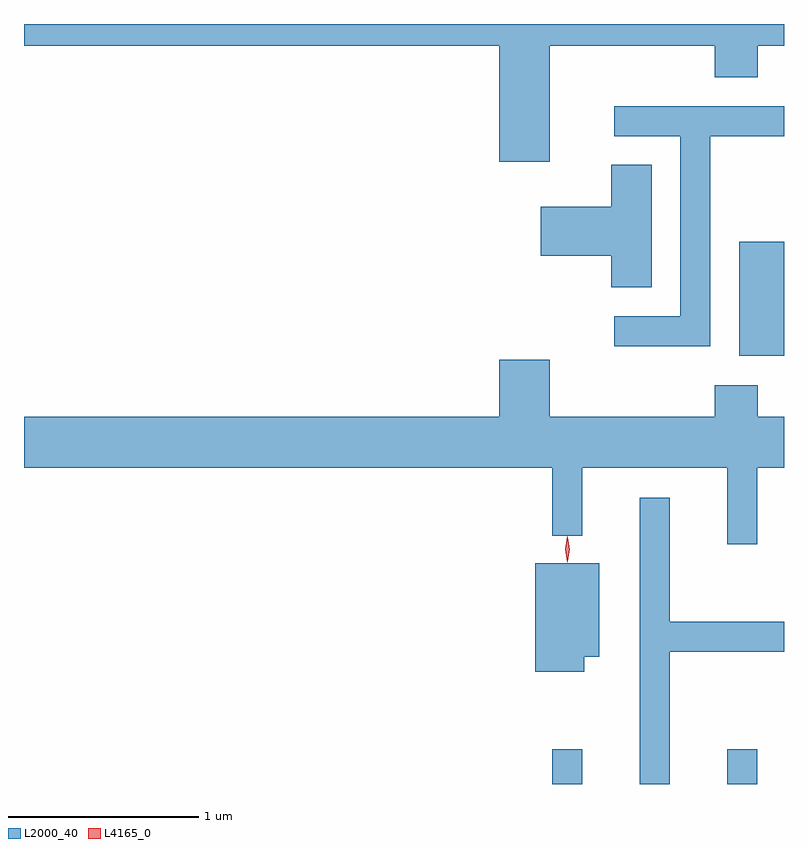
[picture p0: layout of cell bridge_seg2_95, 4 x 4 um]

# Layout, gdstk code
import gdstk
lib = gdstk.Library(unit=1e-6, precision=1e-09)
def R(c, l, rs):  # rectangles x0, y0, x1, y1
    for r in rs: c.add(gdstk.rectangle(r[:2], r[2:], *l))
def P(c, l, *ps):  # polygons
    for p in ps: c.add(gdstk.Polygon(p, *l))
L2000_40 = (2000, 40)
L4165_0 = (4165, 0)

bridge_seg2_95 = lib.new_cell('bridge_seg2_95')
R(bridge_seg2_95, L2000_40, [(1214.356,991.151,1214.514,991.333), (1215.276,991.151,1215.434,991.333), (1215.341,993.406,1215.576,994.004)])
P(bridge_seg2_95, L2000_40, [(1214.344,995.036),(1215.211,995.036),(1215.211,994.871),(1215.439,994.871),(1215.439,995.036),(1215.576,995.036),(1215.576,995.151),(1211.576,995.151),(1211.576,995.036),(1214.076,995.036),(1214.076,994.426),(1214.344,994.426)],
  [(1215.189,994.561),(1215.576,994.561),(1215.576,994.719),(1214.683,994.719),(1214.683,994.561),(1215.031,994.561),(1215.031,993.614),(1214.683,993.614),(1214.683,993.456),(1215.189,993.456)],
  [(1214.879,994.409),(1214.666,994.409),(1214.666,994.189),(1214.296,994.189),(1214.296,993.931),(1214.666,993.931),(1214.666,993.766),(1214.879,993.766)],
  [(1215.434,992.816),(1215.576,992.816),(1215.576,993.084),(1215.439,993.084),(1215.439,993.249),(1215.211,993.249),(1215.211,993.084),(1214.344,993.084),(1214.344,993.384),(1214.076,993.384),(1214.076,993.084),(1211.576,993.084),(1211.576,992.816),(1214.356,992.816),(1214.356,992.458),(1214.514,992.458),(1214.514,992.816),(1215.276,992.816),(1215.276,992.413),(1215.434,992.413)],
  [(1214.974,991.846),(1215.576,991.846),(1215.576,992.004),(1214.974,992.004),(1214.974,992.658),(1214.816,992.658),(1214.816,991.151),(1214.974,991.151)],
  [(1214.524,991.821),(1214.604,991.821),(1214.604,992.314),(1214.266,992.314),(1214.266,991.741),(1214.524,991.741)])
P(bridge_seg2_95, L4165_0, [(1214.434,992.318),(1214.434,992.319),(1214.424,992.387),(1214.434,992.454),(1214.435,992.455),(1214.435,992.454),(1214.444,992.386),(1214.434,992.319)],
  [(1214.439,992.322),(1214.438,992.323),(1214.428,992.387),(1214.438,992.451),(1214.438,992.451),(1214.439,992.451),(1214.448,992.387),(1214.439,992.323)])

lib.write_gds('bridge_seg2_95.gds')
